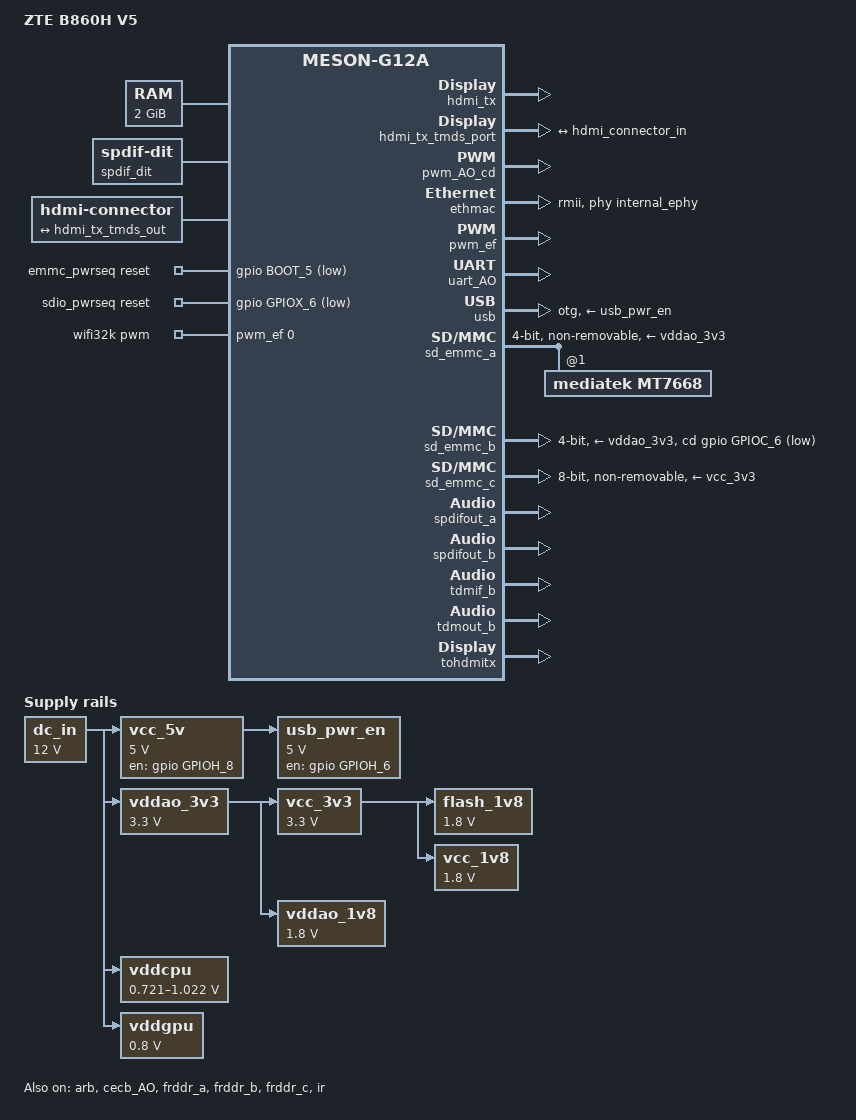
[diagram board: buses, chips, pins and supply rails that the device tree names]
// SPDX-License-Identifier: (GPL-2.0+ OR MIT)


/dts-v1/;

#include "meson-g12a.dtsi"
#include <dt-bindings/gpio/gpio.h>
#include <dt-bindings/gpio/meson-g12a-gpio.h>
#include <dt-bindings/sound/meson-g12a-tohdmitx.h>

/ {
	compatible = "zte,b860h-v5", "amlogic,g12a";
	model = "ZTE B860H V5";

	aliases {
		serial0 = &uart_AO;
		ethernet0 = &ethmac;
		mmc0 = &sd_emmc_b;	/* SD card */
		mmc1 = &sd_emmc_c;	/* eMMC */
		mmc2 = &sd_emmc_a;	/* SDIO Wi-Fi */
	};

	chosen {
		stdout-path = "serial0:115200n8";
	};

	memory@0 {
		device_type = "memory";
		reg = <0x0 0x0 0x0 0x80000000>;
	};

	spdif_dit: audio-codec-1 {
		#sound-dai-cells = <0>;
		compatible = "linux,spdif-dit";
		sound-name-prefix = "DIT";
	};

	hdmi-connector {
		compatible = "hdmi-connector";
		type = "a";

		port {
			hdmi_connector_in: endpoint {
				remote-endpoint = <&hdmi_tx_tmds_out>;
			};
		};
	};

	emmc_pwrseq: emmc-pwrseq {
		compatible = "mmc-pwrseq-emmc";
		reset-gpios = <&gpio BOOT_5 GPIO_ACTIVE_LOW>;
	};

	sdio_pwrseq: sdio-pwrseq {
		compatible = "mmc-pwrseq-simple";
		reset-gpios = <&gpio GPIOX_6 GPIO_ACTIVE_LOW>;
		clocks = <&wifi32k>;
		clock-names = "ext_clock";
	};

	wifi32k: wifi32k {
		compatible = "pwm-clock";
		#clock-cells = <0>;
		clock-frequency = <32768>;
		pwms = <&pwm_ef 0 30518 0>; /* PWM_E at 32.768KHz */
	};

	flash_1v8: regulator-flash-1v8 {
		compatible = "regulator-fixed";
		regulator-name = "FLASH_1V8";
		regulator-min-microvolt = <1800000>;
		regulator-max-microvolt = <1800000>;
		vin-supply = <&vcc_3v3>;
		regulator-always-on;
	};

	dc_in: regulator-dc-in {
		compatible = "regulator-fixed";
		regulator-name = "12V";
		regulator-min-microvolt = <12000000>;
		regulator-max-microvolt = <12000000>;
		regulator-always-on;
	};

	vcc_1v8: regulator-vcc-1v8 {
		compatible = "regulator-fixed";
		regulator-name = "VCC_1V8";
		regulator-min-microvolt = <1800000>;
		regulator-max-microvolt = <1800000>;
		vin-supply = <&vcc_3v3>;
		regulator-always-on;
	};

	vcc_3v3: regulator-vcc-3v3 {
		compatible = "regulator-fixed";
		regulator-name = "VCC_3V3";
		regulator-min-microvolt = <3300000>;
		regulator-max-microvolt = <3300000>;
		vin-supply = <&vddao_3v3>;
		regulator-always-on;
	};

	vcc_5v: regulator-vcc-5v {
		compatible = "regulator-fixed";
		regulator-name = "VCC_5V";
		regulator-min-microvolt = <5000000>;
		regulator-max-microvolt = <5000000>;
		vin-supply = <&dc_in>;

		gpio = <&gpio GPIOH_8 GPIO_ACTIVE_HIGH>;
		enable-active-high;
	};

	vddao_1v8: regulator-vddao-1v8 {
		compatible = "regulator-fixed";
		regulator-name = "VDDAO_1V8";
		regulator-min-microvolt = <1800000>;
		regulator-max-microvolt = <1800000>;
		vin-supply = <&vddao_3v3>;
		regulator-always-on;
	};

	vddao_3v3: regulator-vddao-3v3 {
		compatible = "regulator-fixed";
		regulator-name = "VDDAO_3V3";
		regulator-min-microvolt = <3300000>;
		regulator-max-microvolt = <3300000>;
		vin-supply = <&dc_in>;
		regulator-always-on;
	};

	usb_pwr_en: regulator-usb-pwr-en {
		compatible = "regulator-fixed";
		regulator-name = "USB_PWR_EN";
		regulator-min-microvolt = <5000000>;
		regulator-max-microvolt = <5000000>;
		vin-supply = <&vcc_5v>;

		gpio = <&gpio GPIOH_6 GPIO_ACTIVE_HIGH>;
		enable-active-high;
	};

	vddcpu: regulator-vddcpu {
		compatible = "pwm-regulator";

		regulator-name = "VDDCPU";
		regulator-min-microvolt = <721000>;
		regulator-max-microvolt = <1022000>;

		pwm-supply = <&dc_in>;

		pwms = <&pwm_AO_cd 1 1250 0>;
		pwm-dutycycle-range = <100 0>;

		regulator-boot-on;
		regulator-always-on;
	};

	vddgpu: regulator-vddgpu {
		compatible = "regulator-fixed";
		regulator-name = "mali";
		regulator-min-microvolt = <800000>;
		regulator-max-microvolt = <800000>;
		vin-supply = <&dc_in>;
		regulator-boot-on;
		regulator-always-on;
	};

	sound {
		compatible = "amlogic,axg-sound-card";
		model = "B860H-V5";
		audio-aux-devs = <&tdmout_b>;
		audio-routing = "TDMOUT_B IN 0", "FRDDR_A OUT 1",
				"TDMOUT_B IN 1", "FRDDR_B OUT 1",
				"TDMOUT_B IN 2", "FRDDR_C OUT 1",
				"TDM_B Playback", "TDMOUT_B OUT",
				"SPDIFOUT_A IN 0", "FRDDR_A OUT 3",
				"SPDIFOUT_A IN 1", "FRDDR_B OUT 3",
				"SPDIFOUT_A IN 2", "FRDDR_C OUT 3";

		clocks = <&clkc CLKID_MPLL2>,
			 <&clkc CLKID_MPLL0>,
			 <&clkc CLKID_MPLL1>;

		assigned-clocks = <&clkc CLKID_MPLL2>,
				  <&clkc CLKID_MPLL0>,
				  <&clkc CLKID_MPLL1>;
		assigned-clock-rates = <294912000>,
				       <270950400>,
				       <393216000>;

		dai-link-0 {
			sound-dai = <&frddr_a>;
		};

		dai-link-1 {
			sound-dai = <&frddr_b>;
		};

		dai-link-2 {
			sound-dai = <&frddr_c>;
		};

		/* 8ch hdmi interface */
		dai-link-3 {
			sound-dai = <&tdmif_b>;
			dai-format = "i2s";
			dai-tdm-slot-tx-mask-0 = <1 1>;
			dai-tdm-slot-tx-mask-1 = <1 1>;
			dai-tdm-slot-tx-mask-2 = <1 1>;
			dai-tdm-slot-tx-mask-3 = <1 1>;
			mclk-fs = <256>;

			codec {
				sound-dai = <&tohdmitx TOHDMITX_I2S_IN_B>;
			};
		};

		/* spdif hdmi or toslink interface */
		dai-link-4 {
			sound-dai = <&spdifout_a>;

			codec-0 {
				sound-dai = <&spdif_dit>;
			};

			codec-1 {
				sound-dai = <&tohdmitx TOHDMITX_SPDIF_IN_A>;
			};
		};

		/* spdif hdmi interface */
		dai-link-5 {
			sound-dai = <&spdifout_b>;

			codec {
				sound-dai = <&tohdmitx TOHDMITX_SPDIF_IN_B>;
			};
		};

		/* hdmi glue */
		dai-link-6 {
			sound-dai = <&tohdmitx TOHDMITX_I2S_OUT>;

			codec {
				sound-dai = <&hdmi_tx>;
			};
		};
	};
};

&arb {
	status = "okay";
};

&cec_AO {
	pinctrl-0 = <&cec_ao_a_h_pins>;
	pinctrl-names = "default";
	status = "disabled";
	hdmi-phandle = <&hdmi_tx>;
};

&cecb_AO {
	pinctrl-0 = <&cec_ao_b_h_pins>;
	pinctrl-names = "default";
	status = "okay";
	hdmi-phandle = <&hdmi_tx>;
};

&clkc_audio {
	status = "okay";
};

&cpu0 {
	cpu-supply = <&vddcpu>;
};

&cpu1 {
	cpu-supply = <&vddcpu>;
};

&cpu2 {
	cpu-supply = <&vddcpu>;
};

&cpu3 {
	cpu-supply = <&vddcpu>;
};

&frddr_a {
	status = "okay";
};

&frddr_b {
	status = "okay";
};

&frddr_c {
	status = "okay";
};

&hdmi_tx {
	status = "okay";
	pinctrl-0 = <&hdmitx_hpd_pins>, <&hdmitx_ddc_pins>;
	pinctrl-names = "default";
	hdmi-supply = <&vcc_5v>;
};

&hdmi_tx_tmds_port {
	hdmi_tx_tmds_out: endpoint {
		remote-endpoint = <&hdmi_connector_in>;
	};
};

&ir {
	status = "okay";
	pinctrl-0 = <&remote_input_ao_pins>;
	pinctrl-names = "default";
	linux,rc-map-name = "rc-x96max";
};

&pwm_AO_cd {
	pinctrl-0 = <&pwm_ao_d_e_pins>;
	pinctrl-names = "default";
	status = "okay";
};

/*
 * 100 Mbps Ethernet via the internal RMII PHY (ethernet-phy-id0180.3301).
 * The external MDIO bus / RGMII PHY of the X96 Max reference design is not
 * populated on this board.
 */
&ethmac {
	pinctrl-0 = <&eth_pins>;
	pinctrl-names = "default";
	status = "okay";
	phy-mode = "rmii";
	phy-handle = <&internal_ephy>;
};

&pwm_ef {
	status = "okay";
	pinctrl-0 = <&pwm_e_pins>;
	pinctrl-names = "default";
};

&uart_AO {
	status = "okay";
	pinctrl-0 = <&uart_ao_a_pins>;
	pinctrl-names = "default";
};

&usb {
	status = "okay";
	dr_mode = "otg";
	vbus-supply = <&usb_pwr_en>;
};

/* SDIO - MediaTek MT7668 Wi-Fi/Bluetooth combo */
&sd_emmc_a {
	status = "okay";
	pinctrl-0 = <&sdio_pins>;
	pinctrl-1 = <&sdio_clk_gate_pins>;
	pinctrl-names = "default", "clk-gate";
	#address-cells = <1>;
	#size-cells = <0>;

	bus-width = <4>;
	cap-sd-highspeed;
	sd-uhs-sdr104;
	max-frequency = <100000000>;

	non-removable;
	disable-wp;
	keep-power-in-suspend;
	cap-sdio-irq;

	mmc-pwrseq = <&sdio_pwrseq>;

	vmmc-supply = <&vddao_3v3>;
	vqmmc-supply = <&vddao_1v8>;

	mt7668: wifi@1 {
		compatible = "mediatek,mt7668";
		reg = <1>;
	};
};

/* SD card - conservative 10 MHz as validated on the reference DTB */
&sd_emmc_b {
	status = "okay";
	pinctrl-0 = <&sdcard_c_pins>;
	pinctrl-1 = <&sdcard_clk_gate_c_pins>;
	pinctrl-names = "default", "clk-gate";

	bus-width = <4>;
	cap-sd-highspeed;
	max-frequency = <10000000>;
	disable-wp;

	cd-gpios = <&gpio GPIOC_6 GPIO_ACTIVE_LOW>;
	vmmc-supply = <&vddao_3v3>;
	vqmmc-supply = <&vddao_3v3>;
};

/* eMMC */
&sd_emmc_c {
	status = "okay";
	pinctrl-0 = <&emmc_ctrl_pins>, <&emmc_data_8b_pins>, <&emmc_ds_pins>;
	pinctrl-1 = <&emmc_clk_gate_pins>;
	pinctrl-names = "default", "clk-gate";

	bus-width = <8>;
	cap-mmc-highspeed;
	mmc-ddr-1_8v;
	mmc-hs200-1_8v;
	max-frequency = <200000000>;
	non-removable;
	disable-wp;

	mmc-pwrseq = <&emmc_pwrseq>;
	vmmc-supply = <&vcc_3v3>;
	vqmmc-supply = <&flash_1v8>;
};

&spdifout_a {
	pinctrl-0 = <&spdif_out_h_pins>;
	pinctrl-names = "default";
	status = "okay";
};

&spdifout_b {
	status = "okay";
};

&tdmif_b {
	status = "okay";
};

&tdmout_b {
	status = "okay";
};

&tohdmitx {
	status = "okay";
};
